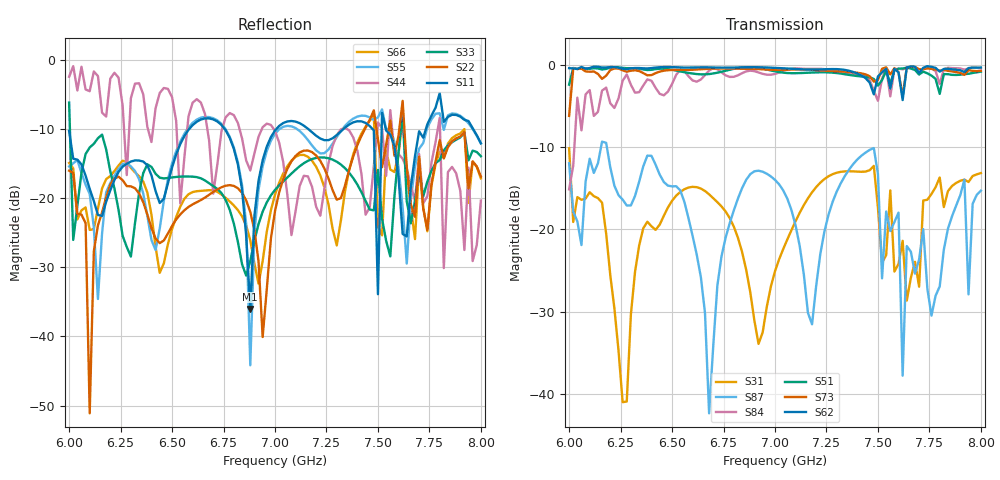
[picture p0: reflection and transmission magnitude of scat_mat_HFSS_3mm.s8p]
! Touchstone file exported from HFSS 2020.1.0
!  File:  D:/Users/rblandin/Documents/Ansoft/scatterer_in_waveguide.aedt
!  Generated:  5:08:14  janv. 16, 2025
!  Design:  HFSSDesign1
!  Project:  scatterer_in_waveguide
!  Setup:  scatmat
!  Solution:  Sweep
! Variables:
!  $height = 3mm
!  $pos_x = 100mm
!  $pos_x_1 = 28.772922mm
!  $pos_x_2 = 55.98679mm
!  $pos_x_3 = 44.27246mm
!  $pos_y = 25mm
!  $pos_y_1 = 43.348048mm
!  $pos_y_2 = 48.8323mm
!  $pos_y_3 = 236.06804mm
!  $radius = 3.1mm
# GHZ S MA R 50.000000
! Terminal data exported
! Port[1] = 1:1
! Port[2] = 1:2
! Port[3] = 1:3
! Port[4] = 1:4
! Port[5] = 2:1
! Port[6] = 2:2
! Port[7] = 2:3
! Port[8] = 2:4
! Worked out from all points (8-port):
!   101 points, 6 GHz to 8 GHz, reference per port
!   strongest paths, dB at 6 GHz, 6.5 GHz, 7 GHz, 7.5 GHz, 8 GHz:
!     S62: -0.3, -0.2, -0.3, -1.4, -0.3
!     S73: -6.2, -0.6, -0.6, -1.8, -0.7
!     S51: -2.4, -0.5, -0.7, -2.5, -0.8
!     S84: -15.1, -2.3, -1.0, -4.3, -0.4
!     S87: -11.9, -14.8, -14.0, -13.2, -15.3
!     S31: -10.1, -16.5, -25.1, -17.4, -13.1
!   lowest |S11| = -36.0 dB at 6.88 GHz (marker M1), VSWR 1.03
!   |S11| at or under -10 dB: start of sweep to 6.583 GHz; 6.756 GHz to 7.006 GHz (249.7 MHz wide, 3.63 % of centre); 7.538 GHz to 7.733 GHz (194.3 MHz wide, 2.54 % of centre)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
